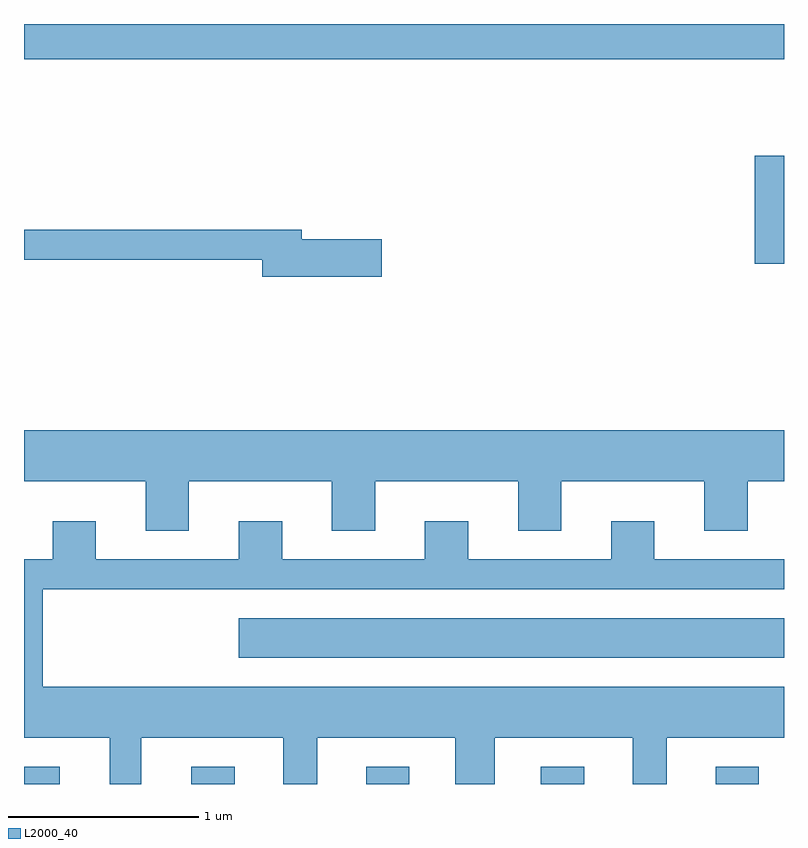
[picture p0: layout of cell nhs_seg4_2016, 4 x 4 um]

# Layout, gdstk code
import gdstk
lib = gdstk.Library(unit=1e-6, precision=1e-09)
def R(c, l, rs):  # rectangles x0, y0, x1, y1
    for r in rs: c.add(gdstk.rectangle(r[:2], r[2:], *l))
def A(c, l, x, y, w, h, nx, ny, dx, dy):  # array of equal rectangles
    R(c, l, [(x+i*dx, y+j*dy, x+i*dx+w, y+j*dy+h) for i in range(nx) for j in range(ny)])
def P(c, l, *ps):  # polygons
    for p in ps: c.add(gdstk.Polygon(p, *l))
L2000_40 = (2000, 40)

nhs_seg4_2016 = lib.new_cell('nhs_seg4_2016')
A(nhs_seg4_2016, L2000_40, 244.491, 1341.982, 0.228, 0.092, 4, 1, 0.92, 0)
R(nhs_seg4_2016, L2000_40, [(243.611,1341.982,243.799,1342.074), (244.741,1342.646,247.611,1342.854), (247.456,1344.721,247.611,1345.289), (243.611,1345.796,247.611,1345.982)])
P(nhs_seg4_2016, L2000_40, [(245.494,1344.849),(245.074,1344.849),(245.074,1344.899),(243.611,1344.899),(243.611,1344.741),(244.866,1344.741),(244.866,1344.651),(245.494,1344.651)],
  [(244.479,1343.576),(245.231,1343.576),(245.231,1343.316),(245.459,1343.316),(245.459,1343.576),(246.211,1343.576),(246.211,1343.316),(246.439,1343.316),(246.439,1343.576),(247.191,1343.576),(247.191,1343.316),(247.419,1343.316),(247.419,1343.576),(247.611,1343.576),(247.611,1343.844),(243.611,1343.844),(243.611,1343.576),(244.251,1343.576),(244.251,1343.316),(244.479,1343.316)],
  [(244.229,1342.226),(244.976,1342.226),(244.976,1341.982),(245.154,1341.982),(245.154,1342.226),(245.881,1342.226),(245.881,1341.982),(246.089,1341.982),(246.089,1342.226),(246.816,1342.226),(246.816,1341.982),(246.994,1341.982),(246.994,1342.226),(247.611,1342.226),(247.611,1342.494),(243.709,1342.494),(243.709,1343.006),(247.611,1343.006),(247.611,1343.164),(246.929,1343.164),(246.929,1343.364),(246.701,1343.364),(246.701,1343.164),(245.949,1343.164),(245.949,1343.364),(245.721,1343.364),(245.721,1343.164),(244.969,1343.164),(244.969,1343.364),(244.741,1343.364),(244.741,1343.164),(243.989,1343.164),(243.989,1343.364),(243.761,1343.364),(243.761,1343.164),(243.611,1343.164),(243.611,1342.226),(244.061,1342.226),(244.061,1341.982),(244.229,1341.982)])

lib.write_gds('nhs_seg4_2016.gds')
